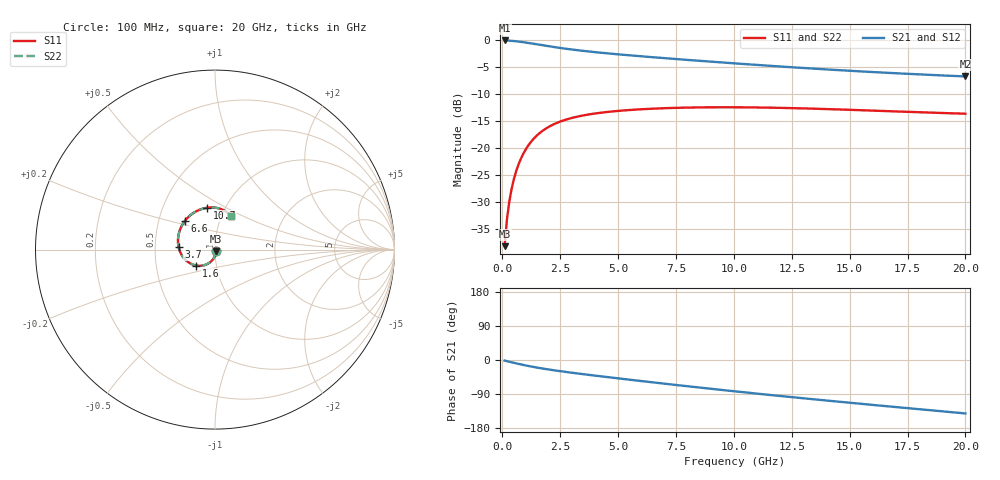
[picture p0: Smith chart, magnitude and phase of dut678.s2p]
! Touchstone file exported from HFSS 2024.1.0
!  File:  C:/UserFiles/LocalFiles/RDL_TSV_Batchsim/temp_RDL_TSV_678_1779815864.aedt
!  Generated:  01:34:51 AM May 27, 2026
!  Design:  RDL_TSV
!  Project:  temp_RDL_TSV_678_1779815864
!  Setup:  Setup1
!  Solution:  Sweep
! Variables:
!  dtsv = 15um
!  hbump = 3um
!  htsv = 96.53um
!  ldown = 257.34um
!  lrdl = 142.26um
!  p = 40
!  p1 = 41.55um
!  rhole = 10um
!  subl = 1341.06um
!  t = 450um
!  tdown = 4.63um
!  trdl = 4.77um
!  viad = 10um
!  wdown = 16.67um
!  wrdl = 16.51um
!  xbump = 18um
# GHz S MA R 50.000000
! Terminal data exported
! Port[1] = TM1_1_T1
! Port[2] = TM1_4_T1
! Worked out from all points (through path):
!   200 points, 100 MHz to 20 GHz, reference 50 ohm
!   highest |S21| = -0.06 dB at 100 MHz (marker M1); lowest = -6.7 dB at 20 GHz (marker M2)
!   group delay of S21, straight-line fit = 18.3 ps
!   lowest |S11| = -38.3 dB at 100 MHz (marker M3), VSWR 1.02, Z = 50.6 - j1.06 ohm
!   |S11| at or under -10 dB: start of sweep to end of sweep
!   |S22| runs from -38.3 to -12.5 dB; largest |S21 - S12| = 1.1e-14
!   S11 on the Smith chart (normalised r, x): 100 MHz: 1.01, -0.02; 1.6 GHz: 0.80, -0.15; 3.7 GHz: 0.66, +0.02; 6.6 GHz: 0.68, +0.23; 10.7 GHz: 0.82, +0.41; 20 GHz: 1.10, +0.43
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0.1  0.01222 -59.3  0.9926 -1.5  0.9926 -1.5  0.01222 -59.3
! Gamma 0 0 0 0
! Port Impedance 50 0 50 0
0.2  0.02152 -77.9  0.9908 -3.1  0.9908 -3.1  0.02152 -77.9
0.3  0.03142 -87.3  0.988 -4.6  0.988 -4.6  0.03142 -87.3
0.4  0.04138 -93.9  0.9844 -6.0  0.9844 -6.0  0.04138 -93.9
0.6  0.06077 -104.2  0.9752 -8.9  0.9752 -8.9  0.06077 -104.2
0.8  0.07896 -112.6  0.9636 -11.6  0.9636 -11.6  0.07896 -112.6
1  0.09566 -120.2  0.9503 -14.2  0.9503 -14.2  0.09567 -120.2
1.3  0.1177 -130.3  0.9284 -17.8  0.9284 -17.8  0.1177 -130.3
1.6  0.1363 -139.3  0.9061 -21.1  0.9061 -21.1  0.1363 -139.3
2  0.1563 -150.0  0.8775 -25.0  0.8775 -25.0  0.1564 -150.0
2.4  0.1719 -159.5  0.8515 -28.6  0.8515 -28.6  0.1719 -159.5
3.5  0.2 179.0  0.7942 -37.4  0.7942 -37.4  0.2 179.1
3.7  0.2035 175.7  0.7855 -39.0  0.7855 -39.0  0.2035 175.7
5  0.2202 156.4  0.7379 -48.5  0.7379 -48.5  0.2202 156.4
6.6  0.2314 137.0  0.6907 -59.7  0.6907 -59.7  0.2314 137.1
6.8  0.2324 134.9  0.6853 -61.1  0.6853 -61.1  0.2324 134.9
8.4  0.2372 119.2  0.6451 -72.0  0.6451 -72.0  0.2371 119.2
10.1  0.2379 105.4  0.6068 -83.1  0.6068 -83.1  0.2379 105.4
10.7  0.2374 101.1  0.5943 -86.9  0.5943 -86.9  0.2373 101.1
13.4  0.2311 85.2  0.5441 -103.4  0.5441 -103.4  0.231 85.2
16.7  0.2189 72.1  0.496 -122.5  0.496 -122.5  0.2188 72.2
20  0.2075 64.9  0.4601 -141.0  0.4601 -141.0  0.2073 64.9
